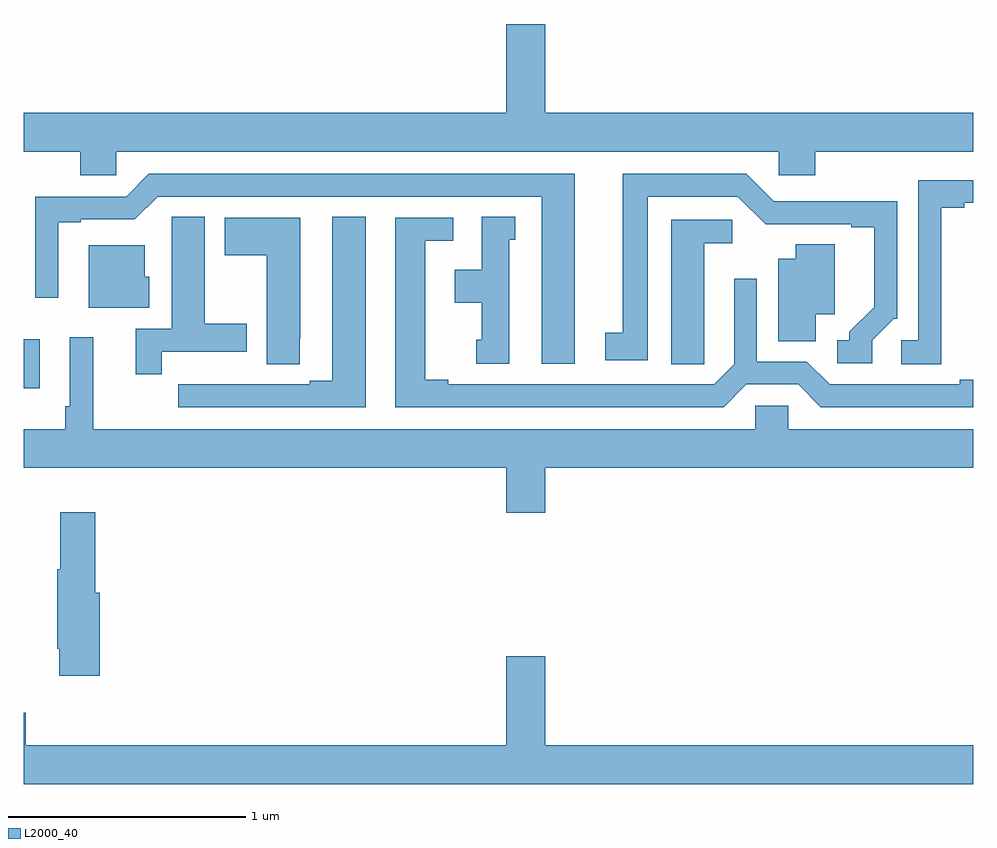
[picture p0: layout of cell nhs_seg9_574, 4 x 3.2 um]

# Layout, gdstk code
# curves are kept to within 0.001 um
import gdstk
lib = gdstk.Library(unit=1e-6, precision=1e-09)
def R(c, l, rs):  # rectangles x0, y0, x1, y1
    for r in rs: c.add(gdstk.rectangle(r[:2], r[2:], *l))
def P(c, l, *ps):  # polygons
    for p in ps: c.add(gdstk.Polygon(p, *l))
L2000_40 = (2000, 40)

nhs_seg9_574 = lib.new_cell('nhs_seg9_574')
R(nhs_seg9_574, L2000_40, [(139,1200.752,139.066,1200.958)])
P(nhs_seg9_574, L2000_40, [(139.389,1201.748),(142.182,1201.748),(142.182,1201.65),(142.334,1201.65),(142.334,1201.748),(143,1201.748),(143,1201.912),(141.196,1201.912),(141.196,1202.287),(141.032,1202.287),(141.032,1201.912),(139,1201.912),(139,1201.748),(139.238,1201.748),(139.238,1201.65),(139.389,1201.65)],
  [(141.322,1201.656),(139.527,1201.656),(139.431,1201.56),(139.047,1201.56),(139.047,1201.134),(139.144,1201.134),(139.144,1201.452),(139.24,1201.452),(139.24,1201.464),(139.467,1201.464),(139.563,1201.56),(141.182,1201.56),(141.182,1200.855),(141.322,1200.855)],
  [(142.575,1200.954),(142.665,1201.044),(142.68,1201.044),(142.68,1201.541),(142.417,1201.541),(142.417,1201.539),(142.161,1201.539),(142.044,1201.656),(141.524,1201.656),(141.524,1200.986),(141.45,1200.986),(141.45,1200.87),(141.628,1200.87),(141.628,1201.56),(142.008,1201.56),(142.126,1201.442),(142.487,1201.443),(142.487,1201.431),(142.583,1201.431),(142.583,1201.094),(142.478,1200.989),(142.478,1200.954),(142.428,1200.954),(142.428,1200.858),(142.575,1200.858)],
  [(142.867,1201.513),(142.963,1201.513),(142.963,1201.533),(143,1201.533),(143,1201.629),(142.77,1201.629),(142.77,1200.954),(142.698,1200.954),(142.698,1200.853),(142.867,1200.853)],
  [(139.58,1200.906),(139.939,1200.906),(139.939,1201.023),(139.762,1201.023),(139.762,1201.475),(139.623,1201.475),(139.623,1201.364),(139.622,1201.364),(139.622,1201.002),(139.472,1201.002),(139.472,1200.81),(139.58,1200.81)],
  [(141.046,1201.377),(141.07,1201.377),(141.07,1201.475),(140.93,1201.475),(140.93,1201.252),(140.816,1201.252),(140.816,1201.112),(140.93,1201.112),(140.93,1200.957),(140.906,1200.957),(140.906,1200.855),(141.046,1200.855)],
  [(140.44,1201.475),(140.3,1201.475),(140.3,1200.783),(140.204,1200.783),(140.204,1200.768),(139.928,1200.768),(139.928,1200.769),(139.762,1200.769),(139.762,1200.768),(139.65,1200.768),(139.65,1200.672),(140.44,1200.672)],
  [(140.163,1200.961),(140.164,1200.961),(140.164,1201.471),(139.847,1201.471),(139.847,1201.312),(140.024,1201.312),(140.024,1200.853),(140.163,1200.853)],
  [(142.045,1200.768),(142.263,1200.768),(142.359,1200.672),(143,1200.672),(143,1200.788),(142.943,1200.788),(142.943,1200.768),(142.395,1200.768),(142.299,1200.864),(142.089,1200.864),(142.089,1201.213),(141.993,1201.213),(141.993,1200.852),(141.909,1200.768),(140.788,1200.768),(140.788,1200.788),(140.692,1200.788),(140.692,1201.374),(140.809,1201.374),(140.809,1201.47),(140.564,1201.47),(140.564,1200.672),(141.949,1200.672)],
  [(141.867,1200.961),(141.868,1200.961),(141.868,1201.364),(141.985,1201.364),(141.985,1201.461),(141.728,1201.461),(141.728,1200.853),(141.867,1200.853)],
  [(142.336,1201.064),(142.417,1201.064),(142.417,1201.358),(142.253,1201.358),(142.253,1201.297),(142.178,1201.297),(142.178,1200.949),(142.336,1200.949)],
  [(139.528,1201.221),(139.51,1201.221),(139.51,1201.354),(139.274,1201.354),(139.274,1201.091),(139.528,1201.091)],
  [(141.196,1200.416),(143,1200.416),(143,1200.58),(142.221,1200.58),(142.221,1200.678),(142.083,1200.678),(142.083,1200.58),(139.292,1200.58),(139.292,1200.967),(139.194,1200.967),(139.194,1200.676),(139.174,1200.676),(139.174,1200.58),(139,1200.58),(139,1200.416),(141.032,1200.416),(141.032,1200.228),(141.196,1200.228)],
  [(139.319,1199.889),(139.301,1199.889),(139.301,1200.229),(139.154,1200.229),(139.154,1199.989),(139.141,1199.989),(139.141,1199.653),(139.148,1199.653),(139.148,1199.541),(139.319,1199.541)],
  [(143,1199.248),(141.196,1199.248),(141.196,1199.623),(141.032,1199.623),(141.032,1199.248),(139.007,1199.248),(139.007,1199.385),(139,1199.385),(139,1199.084),(143,1199.084)])

lib.write_gds('nhs_seg9_574.gds')
